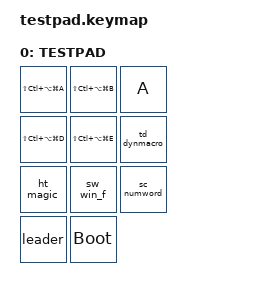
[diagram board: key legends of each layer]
/*
*
* Copyright (c) 2024 Rafael Romão
* SPDX-License-Identifier: MIT
*
*/

#include <behaviors.dtsi>
#include <dt-bindings/zmk/keys.h>
#include <dt-bindings/zmk/bt.h>

#include <dt-bindings/zmk/dynamic-macros.h>
#include <dt-bindings/zmk/mouse.h>
#include "../../../../../definitions/keycodes.h"
#include "../../../../../definitions/config.dtsi"

#include "../../../../../features/accents.dtsi"
#include "../../../../../features/thumbs.dtsi"
#include "../../../../../features/swapper.dtsi"
#include "../../../../../features/symbols.dtsi"
#include "../../../../../features/shortcuts.dtsi"
#include "../../../../../features/combos.dtsi"
#include "../../../../../features/leader.dtsi"

/ {
        keymap {
                compatible = "zmk,keymap";
                default_layer {
                     label = "TESTPAD";
                     bindings = <
                        &kp LS(LC(LA(LG(A)))) &kp LS(LC(LA(LG(B)))) &kp A
                        &kp LS(LC(LA(LG(D)))) &kp LS(LC(LA(LG(E)))) &td_dynmacro
                        &ht_magic &sw_win_f &sc_numword
                        &leader &bootloader 
                        >;
                };
        };
};
